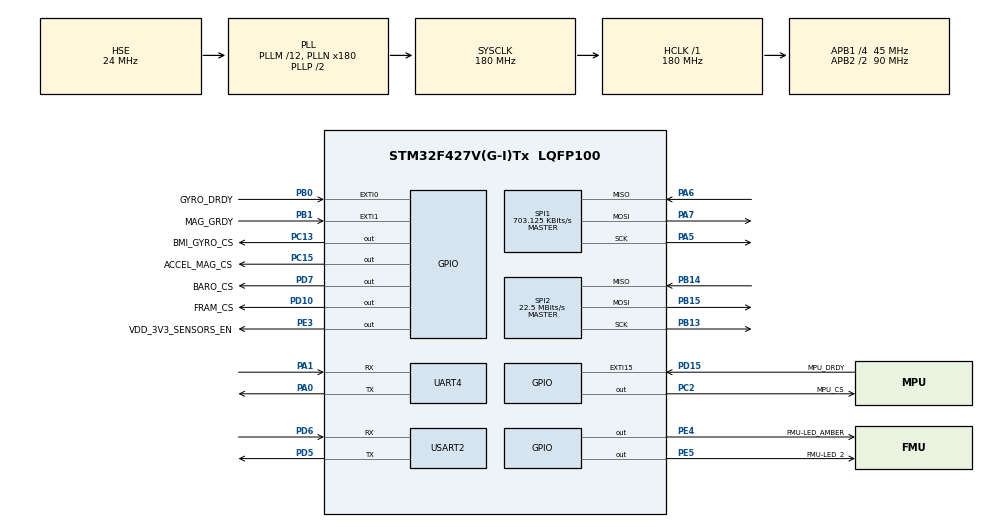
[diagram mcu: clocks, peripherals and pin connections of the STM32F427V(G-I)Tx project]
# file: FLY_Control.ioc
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Mcu.Family=STM32F4
Mcu.Name=STM32F427V(G-I)Tx
Mcu.Package=LQFP100
NVIC.PriorityGroup=NVIC_PRIORITYGROUP_2
PA0/WKUP.Mode=Asynchronous
PA0/WKUP.Signal=UART4_TX
PA1.Mode=Asynchronous
PA1.Signal=UART4_RX
PA13.Mode=Serial_Wire
PA13.Signal=SYS_JTMS-SWDIO
PA14.Mode=Serial_Wire
PA14.Signal=SYS_JTCK-SWCLK
PA5.Mode=Full_Duplex_Master
PA5.Signal=SPI1_SCK
PA6.Mode=Full_Duplex_Master
PA6.Signal=SPI1_MISO
PA7.Mode=Full_Duplex_Master
PA7.Signal=SPI1_MOSI
PB0.GPIO_Label=GYRO_DRDY
PB0.GPIO_ModeDefaultEXTI=GPIO_MODE_IT_FALLING
PB0.GPIO_PuPd=GPIO_PULLUP
PB0.Signal=GPXTI0
PB1.GPIO_Label=MAG_GRDY
PB1.GPIO_ModeDefaultEXTI=GPIO_MODE_IT_FALLING
PB1.GPIO_PuPd=GPIO_PULLUP
PB1.Signal=GPXTI1
PB13.Mode=Full_Duplex_Master
PB13.Signal=SPI2_SCK
PB14.Mode=Full_Duplex_Master
PB14.Signal=SPI2_MISO
PB15.Mode=Full_Duplex_Master
PB15.Signal=SPI2_MOSI
PC13.GPIO_Label=BMI_GYRO_CS
PC13.Signal=GPIO_Output
PC15/OSC32_OUT.GPIO_Label=ACCEL_MAG_CS
PC15/OSC32_OUT.Signal=GPIO_Output
PC2.GPIO_Label=MPU_CS
PC2.GPIO_Speed=GPIO_SPEED_FREQ_HIGH
PC2.Signal=GPIO_Output
PD10.GPIO_Label=FRAM_CS
PD10.GPIO_Speed=GPIO_SPEED_FREQ_HIGH
PD10.Signal=GPIO_Output
PD15.GPIO_Label=MPU_DRDY
PD15.GPIO_ModeDefaultEXTI=GPIO_MODE_IT_FALLING
PD15.GPIO_PuPd=GPIO_PULLUP
PD15.Signal=GPXTI15
PD5.Mode=Asynchronous
PD5.Signal=USART2_TX
PD6.Mode=Asynchronous
PD6.Signal=USART2_RX
PD7.GPIO_Label=BARO_CS
PD7.GPIO_Speed=GPIO_SPEED_FREQ_HIGH
PD7.Signal=GPIO_Output
PE3.GPIO_Label=VDD_3V3_SENSORS_EN
PE3.GPIO_PuPd=GPIO_PULLUP
PE3.Signal=GPIO_Output
PE4.GPIO_Label=FMU-LED_AMBER
PE4.GPIO_PuPd=GPIO_NOPULL
PE4.Signal=GPIO_Output
PE5.GPIO_Label=FMU-LED_2
PE5.Signal=GPIO_Output
PH0/OSC_IN.Mode=HSE-External-Clock-Source
PH0/OSC_IN.Signal=RCC_OSC_IN
PH1/OSC_OUT.Mode=HSE-External-Clock-Source
PH1/OSC_OUT.Signal=RCC_OSC_OUT
ProjectManager.HeapSize=0x200
ProjectManager.StackSize=0x400
ProjectManager.TargetToolchain=MDK-ARM V5
RCC.48MHZClocksFreq_Value=90000000
RCC.AHBFreq_Value=180000000
RCC.APB1CLKDivider=RCC_HCLK_DIV4
RCC.APB1Freq_Value=45000000
RCC.APB1TimFreq_Value=90000000
RCC.APB2CLKDivider=RCC_HCLK_DIV2
RCC.APB2Freq_Value=90000000
RCC.APB2TimFreq_Value=180000000
RCC.CortexFreq_Value=180000000
RCC.HCLKFreq_Value=180000000
RCC.HSE_VALUE=24000000
RCC.HSI_VALUE=16000000
RCC.LSE_VALUE=32768
RCC.PLLM=12
RCC.PLLN=180
RCC.PLLSourceVirtual=RCC_PLLSOURCE_HSE
RCC.SYSCLKFreq_VALUE=180000000
RCC.SYSCLKSource=RCC_SYSCLKSOURCE_PLLCLK
RCC.VCOOutputFreq_Value=360000000
SPI1.BaudRatePrescaler=SPI_BAUDRATEPRESCALER_128
SPI1.CalculateBaudRate=703.125 KBits/s
SPI1.Direction=SPI_DIRECTION_2LINES
SPI1.Mode=SPI_MODE_MASTER
SPI1.VirtualType=VM_MASTER
SPI2.CalculateBaudRate=22.5 MBits/s
SPI2.Direction=SPI_DIRECTION_2LINES
SPI2.Mode=SPI_MODE_MASTER
SPI2.VirtualType=VM_MASTER
UART4.VirtualMode=Asynchronous
USART2.VirtualMode=VM_ASYNC
board=FLY_Control

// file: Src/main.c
/**
  ******************************************************************************
  * File Name          : main.c
  * Description        : Main program body
  ******************************************************************************
  ** This notice applies to any and all portions of this file
  * that are not between comment pairs USER CODE BEGIN and
  * USER CODE END. Other portions of this file, whether
  * inserted by the user or by software development tools
  * are owned by their respective copyright owners.
  *
  * COPYRIGHT(c) 2019 STMicroelectronics
  *
  * Redistribution and use in source and binary forms, with or without modification,
  * are permitted provided that the following conditions are met:
  *   1. Redistributions of source code must retain the above copyright notice,
  *      this list of conditions and the following disclaimer.
  *   2. Redistributions in binary form must reproduce the above copyright notice,
  *      this list of conditions and the following disclaimer in the documentation
  *      and/or other materials provided with the distribution.
  *   3. Neither the name of STMicroelectronics nor the names of its contributors
  *      may be used to endorse or promote products derived from this software
  *      without specific prior written permission.
  *
  * THIS SOFTWARE IS PROVIDED BY THE COPYRIGHT HOLDERS AND CONTRIBUTORS "AS IS"
  * AND ANY EXPRESS OR IMPLIED WARRANTIES, INCLUDING, BUT NOT LIMITED TO, THE
  * IMPLIED WARRANTIES OF MERCHANTABILITY AND FITNESS FOR A PARTICULAR PURPOSE ARE
  * DISCLAIMED. IN NO EVENT SHALL THE COPYRIGHT HOLDER OR CONTRIBUTORS BE LIABLE
  * FOR ANY DIRECT, INDIRECT, INCIDENTAL, SPECIAL, EXEMPLARY, OR CONSEQUENTIAL
  * DAMAGES (INCLUDING, BUT NOT LIMITED TO, PROCUREMENT OF SUBSTITUTE GOODS OR
  * SERVICES; LOSS OF USE, DATA, OR PROFITS; OR BUSINESS INTERRUPTION) HOWEVER
  * CAUSED AND ON ANY THEORY OF LIABILITY, WHETHER IN CONTRACT, STRICT LIABILITY,
  * OR TORT (INCLUDING NEGLIGENCE OR OTHERWISE) ARISING IN ANY WAY OUT OF THE USE
  * OF THIS SOFTWARE, EVEN IF ADVISED OF THE POSSIBILITY OF SUCH DAMAGE.
  *
  ******************************************************************************
  */

#include "main.h"
#include "stm32f4xx_hal.h"
#include "spi.h"
#include "usart.h"
#include "gpio.h"

/* USER CODE BEGIN Includes */
#include "stm32f4_mpu9250.h"
#include "stm32f4_ms5611.h"
#include "mlx90393.h"
#include "STM32_SPI.h"
#include "FM25V10.H"

#include "bmi08x.h"
#include "bmi088.h"
#include "bmi088_stm32.h"
/* USER CODE END Includes */

/* USER CODE BEGIN PV */
/* Private variables ---------------------------------------------------------*/
struct bmi08x_dev dev = {
//        .accel_id = BMI_ACCEL_CS_Pin,
//        .gyro_id = BMI_GYRO_CS_Pin,
        .accel_id = 0x01,
        .gyro_id = 0x02,
        .intf = BMI08X_SPI_INTF,
        .read = &stm32_spi_read,//user_spi_read
        .write = &stm32_spi_write,//user_spi_write
        .delay_ms = &HAL_Delay//user_delay_milli_sec
		//.accel_cfg.odr = BMI08X_ACCEL_ODR_400_HZ,
		//.accel_cfg.bw = BMI08X_ACCEL_BW_NORMAL,
		//.accel_cfg.range = BMI088_ACCEL_RANGE_3G
};

struct bmi08x_int_cfg int_config;
struct bmi08x_data_sync_cfg sync_cfg;
int8_t rslt;
struct bmi08x_sensor_data user_accel_bmi088[100];
struct bmi08x_sensor_data user_gyro_bmi088[100];
uint8_t data = 0;
int count2=0;
int count=0;
unsigned int acc_int_count=0;
unsigned int gyr_int_count=0;

unsigned int mpu_int_count=0;
/* USER CODE END PV */

void SystemClock_Config(void);

/* USER CODE BEGIN PFP */
/* Private function prototypes -----------------------------------------------*/

/* USER CODE END PFP */

/* USER CODE BEGIN 0 */
#define mpu9250_test
/* USER CODE END 0 */

int main(void)
{

  /* USER CODE BEGIN 1 */
  long temper=0;
  float temper_rec=0.0;
  short sig1[100][3]={0};
  short sig2[100][3]={0};
  short sig3[100][3]={0};
  u8 temp=0;
  s32 tep1;
  s32 tep2;
  int8_t err=0;
  u8 FM25V02_ID[9]= {0};
  uint FM25V02_SN_ID[8]= {0};
  u8 i=0;
  uint32_t status=0;
	int16_t xMag,yMag,zMag;
	float tMag;
  /* USER CODE END 1 */

  /* MCU Configuration----------------------------------------------------------*/

  /* Reset of all peripherals, Initializes the Flash interface and the Systick. */
  HAL_Init();

  /* Configure the system clock */
  SystemClock_Config();

  /* Initialize all configured peripherals */
  MX_GPIO_Init();
  MX_SPI1_Init();
  MX_USART2_UART_Init();
  MX_SPI2_Init();
  MX_UART4_Init();

  /* USER CODE BEGIN 2 */
  while(fm25v10_test());
//  MLX90393_Getdata_main();

  MPU9250_Init();

  MS5611_Init();
  MLX90393_Init();

  /* Initialize bmi085 sensors (accel & gyro)*/
  rslt = bmi088_init(&dev);
  /* Reset the accelerometer and wait for 1 ms - delay taken care inside the function */
  rslt = bmi08a_soft_reset(&dev);
//  rslt = bmi08g_soft_reset(&dev);

  /*! Max read/write length (maximum supported length is 32).
   To be set by the user */
  dev.read_write_len = 32;
  /*set accel power mode */
  dev.accel_cfg.power = BMI08X_ACCEL_PM_ACTIVE;
  rslt = bmi08a_set_power_mode(&dev);

  dev.gyro_cfg.power = BMI08X_GYRO_PM_NORMAL;
  bmi08g_set_power_mode(&dev);

  /* API uploads the bmi08x config file onto the device and wait for 150ms
     to enable the data synchronization - delay taken care inside the function */
  rslt = bmi088_apply_config_file(&dev);

  /*assign accel range setting*/
  dev.accel_cfg.range = BMI088_ACCEL_RANGE_3G;
  /*assign gyro range setting*/
  dev.gyro_cfg.range = BMI08X_GYRO_RANGE_2000_DPS;
  /*! Mode (0 = off, 1 = 400Hz, 2 = 1kHz, 3 = 2kHz) */
  sync_cfg.mode = BMI08X_ACCEL_DATA_SYNC_MODE_2000HZ;
  rslt = bmi088_configure_data_synchronization(sync_cfg, &dev);

  /*set accel interrupt pin configuration*/
  /*configure host data ready interrupt */
  int_config.accel_int_config_1.int_channel = BMI08X_INT_CHANNEL_1;
  int_config.accel_int_config_1.int_type = BMI08X_ACCEL_DATA_RDY_INT;
  int_config.accel_int_config_1.int_pin_cfg.output_mode = BMI08X_INT_MODE_PUSH_PULL;
  int_config.accel_int_config_1.int_pin_cfg.lvl = BMI08X_INT_ACTIVE_HIGH;
  int_config.accel_int_config_1.int_pin_cfg.enable_int_pin = BMI08X_ENABLE;

  /*configure Accel syncronization input interrupt pin */
  int_config.accel_int_config_2.int_channel = BMI08X_INT_CHANNEL_2;
  int_config.accel_int_config_2.int_type = BMI08X_ACCEL_DATA_RDY_INT;
  int_config.accel_int_config_2.int_pin_cfg.output_mode = BMI08X_INT_MODE_PUSH_PULL;
  int_config.accel_int_config_2.int_pin_cfg.lvl = BMI08X_INT_ACTIVE_HIGH;
  int_config.accel_int_config_2.int_pin_cfg.enable_int_pin = BMI08X_DISABLE;

  /*set gyro interrupt pin configuration*/
  int_config.gyro_int_config_1.int_channel = BMI08X_INT_CHANNEL_3;
  int_config.gyro_int_config_1.int_type = BMI08X_GYRO_DATA_RDY_INT;
  int_config.gyro_int_config_1.int_pin_cfg.enable_int_pin = BMI08X_DISABLE;
  int_config.gyro_int_config_1.int_pin_cfg.lvl = BMI08X_INT_ACTIVE_HIGH;
  int_config.gyro_int_config_1.int_pin_cfg.output_mode = BMI08X_INT_MODE_PUSH_PULL;

  int_config.gyro_int_config_2.int_channel = BMI08X_INT_CHANNEL_4;
  int_config.gyro_int_config_2.int_type = BMI08X_GYRO_DATA_RDY_INT;
  int_config.gyro_int_config_2.int_pin_cfg.enable_int_pin = BMI08X_ENABLE;
  int_config.gyro_int_config_2.int_pin_cfg.lvl = BMI08X_INT_ACTIVE_HIGH;
  int_config.gyro_int_config_2.int_pin_cfg.output_mode = BMI08X_INT_MODE_PUSH_PULL;

  /* Enable synchronization interrupt pin */
  rslt = bmi088_set_data_sync_int_config(&int_config, &dev);

  /* USER CODE END 2 */

  /* Infinite loop */
  while (1)
  {

  /* USER CODE BEGIN 3 */

    for(count = 0; count<100;count++)
		{
#ifdef bmi088_test
			err = bmi08g_get_data(&user_gyro_bmi088[count],&dev);
			err = bmi08a_get_data(&user_accel_bmi088[count],&dev);
#endif

#ifdef mpu9250_test
			MPU9250_Get9AxisRawData(&sig1[count][0],&sig2[count][1],&sig3[count][2]);

#endif
      HAL_Delay(1);
		}
		for(count = 0; count<100;count++)
		{
#ifdef bmi088_test
		  printf("BIM Accel1:\t%d\t Accel2:\t%d\t Accel3:\t%d\r\n",
										 user_accel_bmi088[count].x ,
										 user_accel_bmi088[count].y ,
										 user_accel_bmi088[count].z );
#endif
#ifdef mpu9250_test
		  printf("Accel1: \t %d \t Accel2: \t%d \t Accel3: \t %d \r\n",
										 sig1[count][0],
										 sig1[count][1] ,
										 sig1[count][2] );

#endif
		}

		for(count = 0; count<100;count++)
		{
#ifdef bmi088_test
		  printf("BIM Gyro1: \t%d\t Gyro2: \t%d\t Gyro3: \t %d\r\n",
										 user_gyro_bmi088[count].x ,
										 user_gyro_bmi088[count].y ,
										 user_gyro_bmi088[count].z );
#endif
#ifdef mpu9250_test
		  printf("gyro1: \t %d \t gyro2: \t %d \t gyro3: \t %d \r\n",
										 sig2[count][0],
										 sig2[count][1] ,
										 sig2[count][2] );
#endif

    }

#ifdef bmi088_test
    printf("acc :%d \t gyr:%d\r\n",acc_int_count,gyr_int_count);
		acc_int_count =0;
		gyr_int_count =0;
#endif

#ifdef mpu9250_test
    printf("mpu :\t%d \t \r\n",mpu_int_count);
		mpu_int_count =0;
#endif

//	  if(err == BMI08X_OK)
//	  {
//		  printf("BIM Accel1:%d\t Accel2:%d\t Accel3:%d\r\n",
//										 user_accel_bmi088.x ,
//										 user_accel_bmi088.y ,
//										 user_accel_bmi088.z );
//		  printf("BIM Gyro1:%d\t Gyro2:%d\t Gyro3:%d\r\n",
//										 user_gyro_bmi088.x ,
//										 user_gyro_bmi088.y ,
//										 user_gyro_bmi088.z );

//	  }
//	  else
//	  {
//		  printf("err:%d\r\n",err);
//	  }
	  LED1 = ~LED1;
//	  HAL_Delay(500);

  }
  /* USER CODE END 3 */

}

/** System Clock Configuration
*/
void SystemClock_Config(void)
{

  RCC_OscInitTypeDef RCC_OscInitStruct;
  RCC_ClkInitTypeDef RCC_ClkInitStruct;

    /**Configure the main internal regulator output voltage
    */
  __HAL_RCC_PWR_CLK_ENABLE();

  __HAL_PWR_VOLTAGESCALING_CONFIG(PWR_REGULATOR_VOLTAGE_SCALE1);

    /**Initializes the CPU, AHB and APB busses clocks
    */
  RCC_OscInitStruct.OscillatorType = RCC_OSCILLATORTYPE_HSE;
  RCC_OscInitStruct.HSEState = RCC_HSE_BYPASS;
  RCC_OscInitStruct.PLL.PLLState = RCC_PLL_ON;
  RCC_OscInitStruct.PLL.PLLSource = RCC_PLLSOURCE_HSE;
  RCC_OscInitStruct.PLL.PLLM = 12;
  RCC_OscInitStruct.PLL.PLLN = 180;
  RCC_OscInitStruct.PLL.PLLP = RCC_PLLP_DIV2;
  RCC_OscInitStruct.PLL.PLLQ = 4;
  if (HAL_RCC_OscConfig(&RCC_OscInitStruct) != HAL_OK)
  {
    _Error_Handler(__FILE__, __LINE__);
  }

    /**Activate the Over-Drive mode
    */
  if (HAL_PWREx_EnableOverDrive() != HAL_OK)
  {
    _Error_Handler(__FILE__, __LINE__);
  }

    /**Initializes the CPU, AHB and APB busses clocks
    */
  RCC_ClkInitStruct.ClockType = RCC_CLOCKTYPE_HCLK|RCC_CLOCKTYPE_SYSCLK
                              |RCC_CLOCKTYPE_PCLK1|RCC_CLOCKTYPE_PCLK2;
  RCC_ClkInitStruct.SYSCLKSource = RCC_SYSCLKSOURCE_PLLCLK;
  RCC_ClkInitStruct.AHBCLKDivider = RCC_SYSCLK_DIV1;
  RCC_ClkInitStruct.APB1CLKDivider = RCC_HCLK_DIV4;
  RCC_ClkInitStruct.APB2CLKDivider = RCC_HCLK_DIV2;

  if (HAL_RCC_ClockConfig(&RCC_ClkInitStruct, FLASH_LATENCY_5) != HAL_OK)
  {
    _Error_Handler(__FILE__, __LINE__);
  }

    /**Configure the Systick interrupt time
    */
  HAL_SYSTICK_Config(HAL_RCC_GetHCLKFreq()/1000);

    /**Configure the Systick
    */
  HAL_SYSTICK_CLKSourceConfig(SYSTICK_CLKSOURCE_HCLK);

  /* SysTick_IRQn interrupt configuration */
  HAL_NVIC_SetPriority(SysTick_IRQn, 0, 0);
}

/* USER CODE BEGIN 4 */
//#define ZERO_RANGE   0.1
//void EXTI0_IRQHandler(void)
//{
//  /* USER CODE BEGIN EXTI0_IRQn 0 */
//  if(count>1000)
//  {
////   HAL_GPIO_TogglePin(LD3_GPIO_Port, LD3_Pin);
//   LED2=~LED2;
//   count=0;
//  }
//  count++;
//  if(init_flag==1)
//  {
//	   bmi088_get_synchronized_data(&user_accel_bmi088,&user_gyro_bmi088, &dev);
//
//	   printf("BIM Accel1:%d\t Accel2:%d\t Accel3:%d\r\n",
//									 user_accel_bmi088.x ,
//									 user_accel_bmi088.y ,
//									 user_accel_bmi088.z );
//	   printf("BIM Gyro1:%d\t Gyro2:%d\t Gyro3:%d\r\n",
//									 user_gyro_bmi088.x ,
//									 user_gyro_bmi088.y ,
//									 user_gyro_bmi088.z );
//
//	   if((user_accel_bmi088.x>-ZERO_RANGE)&&(user_accel_bmi088.x<ZERO_RANGE))
//	   {
////			(LD1_GPIO_Port,LD1_Pin,GPIO_PIN_SET);
//	   }
//	   else
//	   {
////			(LD1_GPIO_Port,LD1_Pin,GPIO_PIN_RESET);
//	   }
//	   if((user_accel_bmi088.y>-ZERO_RANGE)&&(user_accel_bmi088.y<ZERO_RANGE))
//	   {
////			(LD2_GPIO_Port,LD2_Pin,GPIO_PIN_SET);
//	   }
//	   else
//	   {
////			(LD2_GPIO_Port,LD2_Pin,GPIO_PIN_RESET);
//	   }
//  }

//  /* USER CODE END EXTI0_IRQn 0 */
//  HAL_GPIO_EXTI_IRQHandler(GPIO_PIN_0);
//  /* USER CODE BEGIN EXTI0_IRQn 1 */

//  /* USER CODE END EXTI0_IRQn 1 */
//}
/* USER CODE END 4 */

void _Error_Handler(char * file, int line)
{
  while(1)
  {
  }
}

/************************ (C) COPYRIGHT STMicroelectronics *****END OF FILE****/
